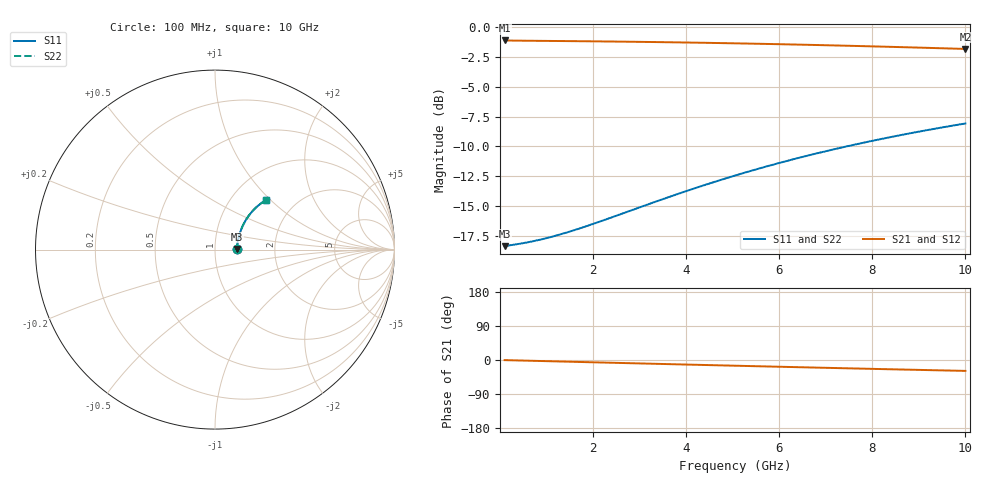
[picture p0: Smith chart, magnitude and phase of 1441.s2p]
# Hz S RI R 50.00
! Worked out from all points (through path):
!   100 points, 100 MHz to 10 GHz, reference 50 ohm
!   highest |S21| = -1.11 dB at 100 MHz (marker M1); lowest = -1.8 dB at 10 GHz (marker M2)
!   group delay of S21, straight-line fit = 8.01 ps
!   lowest |S11| = -18.4 dB at 100 MHz (marker M3), VSWR 1.27, Z = 63.7 + j0.456 ohm
!   |S11| at or under -10 dB: start of sweep to 7.462 GHz
!   |S22| runs from -18.4 to -8.1 dB; largest |S21 - S12| = 0
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1e8  0.1203 0.00353  0.8797 -0.00467  0.8797 -0.00467  0.1203 0.00353
6e8  0.1232 0.021  0.8768 -0.0279  0.8768 -0.0279  0.1232 0.021
9e8  0.1248 0.0315  0.8752 -0.0417  0.8752 -0.0417  0.1248 0.0315
1.1e9  0.1259 0.0384  0.874 -0.0509  0.874 -0.0509  0.1259 0.0384
1.3e9  0.1271 0.0453  0.8727 -0.0601  0.8727 -0.0601  0.1271 0.0453
1.5e9  0.1285 0.0521  0.8714 -0.0692  0.8714 -0.0692  0.1285 0.0521
1.8e9  0.1307 0.0623  0.8691 -0.0828  0.8691 -0.0828  0.1307 0.0623
2.1e9  0.1332 0.0724  0.8665 -0.0963  0.8665 -0.0963  0.1332 0.0724
2.6e9  0.1379 0.0891  0.8616 -0.1187  0.8616 -0.1187  0.1379 0.0891
3.4e9  0.1471 0.1149  0.8521 -0.1537  0.8521 -0.1537  0.1471 0.1149
3.9e9  0.1538 0.1306  0.8451 -0.175  0.8451 -0.175  0.1538 0.1306
4.3e9  0.1598 0.1428  0.8389 -0.1918  0.8389 -0.1918  0.1598 0.1428
4.7e9  0.1661 0.1546  0.8323 -0.2082  0.8323 -0.2082  0.1661 0.1546
5.1e9  0.1729 0.1662  0.8253 -0.2244  0.8253 -0.2244  0.1729 0.1662
5.5e9  0.1801 0.1774  0.8178 -0.2401  0.8178 -0.2401  0.1801 0.1774
5.9e9  0.1877 0.1882  0.8099 -0.2555  0.8099 -0.2555  0.1877 0.1882
6.7e9  0.2039 0.2086  0.7929 -0.2852  0.7929 -0.2852  0.2039 0.2086
7.5e9  0.2215 0.2274  0.7746 -0.3132  0.7746 -0.3132  0.2215 0.2274
7.9e9  0.2307 0.2362  0.765 -0.3266  0.765 -0.3266  0.2307 0.2362
8.4e9  0.2425 0.2465  0.7526 -0.3427  0.7526 -0.3427  0.2425 0.2465
9.2e9  0.2621 0.2616  0.732 -0.3671  0.732 -0.3671  0.2621 0.2616
1e10  0.2824 0.275  0.7106 -0.3897  0.7106 -0.3897  0.2824 0.275
